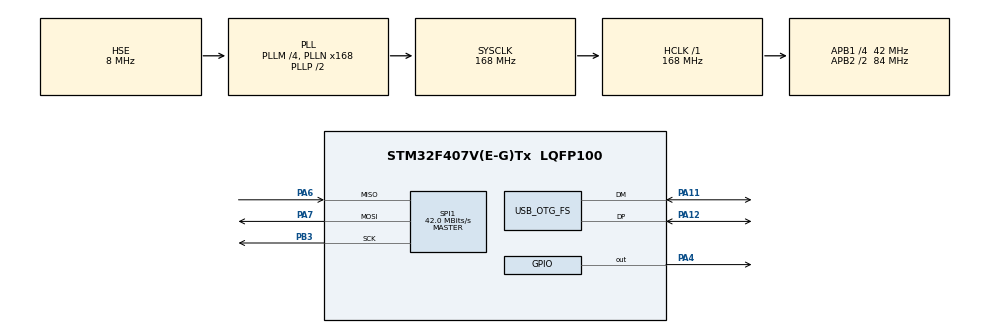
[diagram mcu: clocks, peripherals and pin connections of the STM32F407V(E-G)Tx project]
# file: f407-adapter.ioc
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Dma.Request0=SPI1_RX
Dma.Request1=SPI1_TX
Dma.SPI1_RX.0.Direction=DMA_PERIPH_TO_MEMORY
Dma.SPI1_RX.0.FIFOMode=DMA_FIFOMODE_DISABLE
Dma.SPI1_RX.0.Instance=DMA2_Stream0
Dma.SPI1_RX.0.MemDataAlignment=DMA_MDATAALIGN_BYTE
Dma.SPI1_RX.0.MemInc=DMA_MINC_ENABLE
Dma.SPI1_RX.0.Mode=DMA_NORMAL
Dma.SPI1_RX.0.PeriphDataAlignment=DMA_PDATAALIGN_BYTE
Dma.SPI1_RX.0.PeriphInc=DMA_PINC_DISABLE
Dma.SPI1_RX.0.Priority=DMA_PRIORITY_LOW
Dma.SPI1_TX.1.Direction=DMA_MEMORY_TO_PERIPH
Dma.SPI1_TX.1.FIFOMode=DMA_FIFOMODE_DISABLE
Dma.SPI1_TX.1.Instance=DMA2_Stream3
Dma.SPI1_TX.1.MemDataAlignment=DMA_MDATAALIGN_BYTE
Dma.SPI1_TX.1.MemInc=DMA_MINC_ENABLE
Dma.SPI1_TX.1.Mode=DMA_NORMAL
Dma.SPI1_TX.1.PeriphDataAlignment=DMA_PDATAALIGN_BYTE
Dma.SPI1_TX.1.PeriphInc=DMA_PINC_DISABLE
Dma.SPI1_TX.1.Priority=DMA_PRIORITY_MEDIUM
Mcu.Family=STM32F4
Mcu.Name=STM32F407V(E-G)Tx
Mcu.Package=LQFP100
NVIC.DMA2_Stream0_IRQn=true\:0\:0\:false\:false\:true\:false\:true\:true
NVIC.DMA2_Stream3_IRQn=true\:0\:0\:false\:false\:true\:false\:true\:true
NVIC.OTG_FS_IRQn=true\:0\:0\:false\:false\:true\:false\:true\:true
NVIC.PriorityGroup=NVIC_PRIORITYGROUP_4
NVIC.SPI1_IRQn=true\:0\:0\:false\:false\:true\:true\:true\:true
NVIC.TIM2_IRQn=true\:0\:0\:false\:false\:true\:true\:true\:true
PA11.Mode=Device_Only
PA11.Signal=USB_OTG_FS_DM
PA12.Mode=Device_Only
PA12.Signal=USB_OTG_FS_DP
PA13.Mode=Serial_Wire
PA13.Signal=SYS_JTMS-SWDIO
PA14.Mode=Serial_Wire
PA14.Signal=SYS_JTCK-SWCLK
PA4.Signal=GPIO_Output
PA6.Mode=Full_Duplex_Master
PA6.Signal=SPI1_MISO
PA7.Mode=Full_Duplex_Master
PA7.Signal=SPI1_MOSI
PB3.Mode=Full_Duplex_Master
PB3.Signal=SPI1_SCK
PH0-OSC_IN.Mode=HSE-External-Oscillator
PH0-OSC_IN.Signal=RCC_OSC_IN
PH1-OSC_OUT.Mode=HSE-External-Oscillator
PH1-OSC_OUT.Signal=RCC_OSC_OUT
ProjectManager.HeapSize=0x200
ProjectManager.StackSize=0x400
ProjectManager.TargetToolchain=Makefile
RCC.48MHZClocksFreq_Value=48000000
RCC.AHBFreq_Value=168000000
RCC.APB1CLKDivider=RCC_HCLK_DIV4
RCC.APB1Freq_Value=42000000
RCC.APB1TimFreq_Value=84000000
RCC.APB2CLKDivider=RCC_HCLK_DIV2
RCC.APB2Freq_Value=84000000
RCC.APB2TimFreq_Value=168000000
RCC.CortexFreq_Value=168000000
RCC.HCLKFreq_Value=168000000
RCC.HSE_VALUE=8000000
RCC.HSI_VALUE=16000000
RCC.LSE_VALUE=32768
RCC.PLLM=4
RCC.PLLN=168
RCC.PLLQ=7
RCC.SYSCLKFreq_VALUE=168000000
RCC.SYSCLKSource=RCC_SYSCLKSOURCE_PLLCLK
RCC.VCOOutputFreq_Value=336000000
SPI1.BaudRatePrescaler=SPI_BAUDRATEPRESCALER_2
SPI1.CalculateBaudRate=42.0 MBits/s
SPI1.Direction=SPI_DIRECTION_2LINES
SPI1.Mode=SPI_MODE_MASTER
SPI1.VirtualType=VM_MASTER
TIM2.Period=1999
TIM2.Prescaler=83
USB_DEVICE.CLASS_NAME_FS=CDC
USB_DEVICE.VirtualMode-CDC_FS=Cdc
USB_DEVICE.VirtualModeFS=Cdc_FS
USB_OTG_FS.VirtualMode=Device_Only
VP_TIM2_VS_ClockSourceINT.Mode=Internal
VP_USB_DEVICE_VS_USB_DEVICE_CDC_FS.Mode=CDC_FS
board=custom

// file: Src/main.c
/* USER CODE BEGIN Header */
/**
 ******************************************************************************
 * @file           : main.c
 * @brief          : Main program body
 ******************************************************************************
 * @attention
 *
 * Copyright (c) 2022 STMicroelectronics.
 * All rights reserved.
 *
 * This software is licensed under terms that can be found in the LICENSE file
 * in the root directory of this software component.
 * If no LICENSE file comes with this software, it is provided AS-IS.
 *
 ******************************************************************************
 */
/* USER CODE END Header */
#include "main.h"
#include "dma.h"
#include "spi.h"
#include "tim.h"
#include "usb_device.h"
#include "gpio.h"

/* USER CODE BEGIN Includes */
#include "usbd_cdc_if.h"
/* USER CODE END Includes */

void SystemClock_Config(void);

/* USER CODE BEGIN 0 */
uint8_t SPI_TXbuf[59] = {0xEB, 0x90, 0xC0, 0x0B, 0x0A, 0x0C, 0x0A, 0xAB, 0xBD, 0xBC,
                         0xDC, 0xAC, 0xDF, 0x0A, 0x0A, 0xCD, 0x0A, 0xA0, 0xCA, 0x0D,
                         0xDC, 0xAC, 0xDF, 0x0A, 0x0A, 0xCD, 0x0A, 0x0A, 0xCA, 0x0C,
                         0xAC, 0xAC, 0xDF, 0x0A, 0x0A, 0xCD, 0x0A, 0xA0, 0xCA, 0xB0,
                         0xDB, 0xAC, 0xDF, 0x0B, 0x0A, 0xCD, 0x0A, 0x0A, 0xCA, 0xC0,
                         0x0C, 0xAC, 0xDF, 0x0A, 0x0B, 0xCD, 0x0A, 0x0D, 0x0A};
uint8_t SPI_RXbuf[59];

uint8_t blankBuf[59] = {0};
uint8_t usbTxBuf[59] = {0};

int tim_flag = 0;
int spi_flag = 0;
/* USER CODE END 0 */

int main(void)
{
    /* USER CODE BEGIN 1 */
    // 000
    /* USER CODE END 1 */

    /* MCU Configuration--------------------------------------------------------*/

    /* Reset of all peripherals, Initializes the Flash interface and the Systick. */
    HAL_Init();

    /* Configure the system clock */
    SystemClock_Config();

    /* Initialize all configured peripherals */
    MX_GPIO_Init();
    MX_DMA_Init();
    MX_SPI1_Init();
    MX_USB_DEVICE_Init();
    MX_TIM2_Init();
    /* USER CODE BEGIN 2 */

    HAL_SPI_TransmitReceive_DMA(&hspi1, SPI_TXbuf, SPI_RXbuf, 59);
    CDC_Transmit_FS(SPI_RXbuf, sizeof(SPI_RXbuf));
    HAL_TIM_Base_Start_IT(&htim2);
    /* USER CODE END 2 */

    /* Infinite loop */
    while (1)
    {

        /* USER CODE BEGIN 3 */
        if (tim_flag == 1)
        {
            tim_flag = 0;
            HAL_SPI_TransmitReceive_DMA(&hspi1, SPI_TXbuf, SPI_RXbuf, 59);
        }
        if ( memcmp(SPI_RXbuf, blankBuf, 59) != 0 )
        {
            CDC_Transmit_FS(SPI_RXbuf, sizeof(SPI_RXbuf));
            memset(SPI_RXbuf, 0, sizeof(SPI_RXbuf));
        }
    }
    /* USER CODE END 3 */
}

void SystemClock_Config(void)
{
    RCC_OscInitTypeDef RCC_OscInitStruct = {0};
    RCC_ClkInitTypeDef RCC_ClkInitStruct = {0};

    /** Configure the main internal regulator output voltage
     */
    __HAL_RCC_PWR_CLK_ENABLE();
    __HAL_PWR_VOLTAGESCALING_CONFIG(PWR_REGULATOR_VOLTAGE_SCALE1);

    /** Initializes the RCC Oscillators according to the specified parameters
     * in the RCC_OscInitTypeDef structure.
     */
    RCC_OscInitStruct.OscillatorType = RCC_OSCILLATORTYPE_HSE;
    RCC_OscInitStruct.HSEState = RCC_HSE_ON;
    RCC_OscInitStruct.PLL.PLLState = RCC_PLL_ON;
    RCC_OscInitStruct.PLL.PLLSource = RCC_PLLSOURCE_HSE;
    RCC_OscInitStruct.PLL.PLLM = 4;
    RCC_OscInitStruct.PLL.PLLN = 168;
    RCC_OscInitStruct.PLL.PLLP = RCC_PLLP_DIV2;
    RCC_OscInitStruct.PLL.PLLQ = 7;
    if (HAL_RCC_OscConfig(&RCC_OscInitStruct) != HAL_OK)
    {
        Error_Handler();
    }

    /** Initializes the CPU, AHB and APB buses clocks
     */
    RCC_ClkInitStruct.ClockType = RCC_CLOCKTYPE_HCLK | RCC_CLOCKTYPE_SYSCLK | RCC_CLOCKTYPE_PCLK1 | RCC_CLOCKTYPE_PCLK2;
    RCC_ClkInitStruct.SYSCLKSource = RCC_SYSCLKSOURCE_PLLCLK;
    RCC_ClkInitStruct.AHBCLKDivider = RCC_SYSCLK_DIV1;
    RCC_ClkInitStruct.APB1CLKDivider = RCC_HCLK_DIV4;
    RCC_ClkInitStruct.APB2CLKDivider = RCC_HCLK_DIV2;

    if (HAL_RCC_ClockConfig(&RCC_ClkInitStruct, FLASH_LATENCY_5) != HAL_OK)
    {
        Error_Handler();
    }
}

/* USER CODE BEGIN 4 */

void HAL_SPI_TxRxCpltCallback(SPI_HandleTypeDef *hspi)
{
    // UNUSED(hspi1);
    HAL_GPIO_WritePin(GPIOA, GPIO_PIN_4, GPIO_PIN_SET);
    memcpy(SPI_RXbuf, usbTxBuf, sizeof(SPI_RXbuf));
    // CDC_Transmit_FS(SPI_RXbuf, sizeof(SPI_RXbuf));
}
void HAL_TIM_PeriodElapsedCallback(TIM_HandleTypeDef *htim)
{
    if (htim == (&htim2))

        tim_flag = 1;
}
/* USER CODE END 4 */

void Error_Handler(void)
{
    __disable_irq();
    while (1)
    {
    }
}
